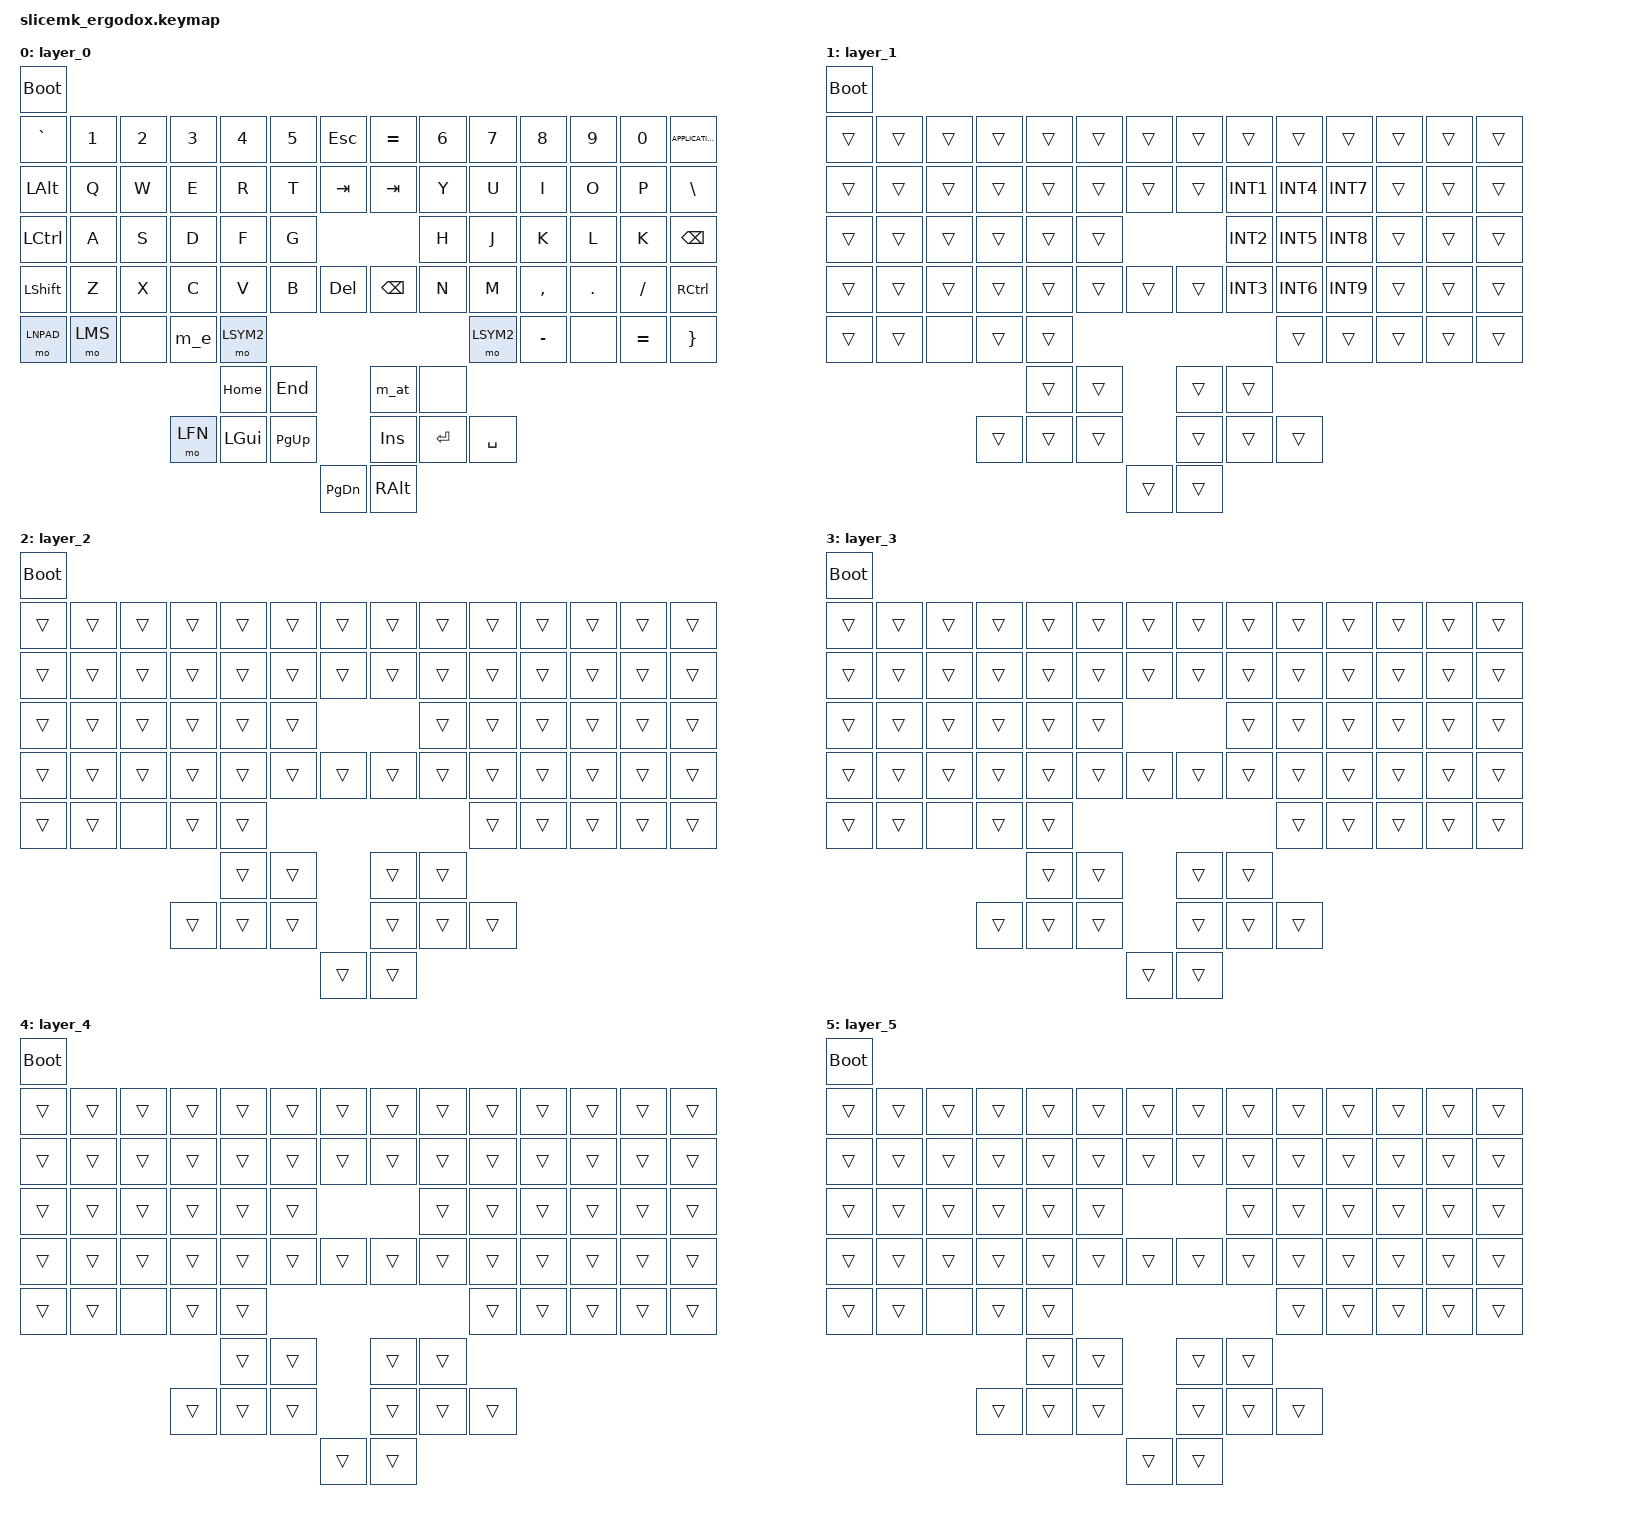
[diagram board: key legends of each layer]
#define LMAIN 0   // Layer 1: Main layer
#define LFN 1     // Layer 2: F-keys, arrows, media buttons
#define LNPAD 2   // Layer 3: Numpad (with regular number keys)
#define LMS 3     // Layer 4: Mouse layer
#define LSYM1 4   // Layer 5: Commonly used punctuation and keys
#define LSYM2 5   // Layer 6: Alternatives for commonly used punctuation

#include <behaviors.dtsi>
#include <dt-bindings/zmk/bt.h>
#include <dt-bindings/zmk/keys.h>
#include <dt-bindings/zmk/mouse.h>
#include <dt-bindings/zmk/outputs.h>
#include <dt-bindings/zmk/rgb.h>

// Originally converted from TMK, now modified to ZMK.

/ {
    macros {
        m_e: m_e {
            // Type 'é'
            compatible = "zmk,behavior-macro";
            #binding-cells = <0>;
            bindings
                = <&macro_press &kp LCTRL>
                , <&macro_press &kp LSHIFT>
                , <&macro_tap &kp U>
                , <&macro_release &kp LCTRL>
                , <&macro_release &kp LSHIFT>
                , <&macro_tap &kp E>
                , <&macro_tap &kp N9>
                , <&macro_tap &kp SPACE>
                ;
        };
        m_at: m_at {
            // AltGr + 2 = @
            compatible = "zmk,behavior-macro";
            #binding-cells = <0>;
            bindings
                = <&macro_press &kp RALT>
                , <&macro_tap &kp N2>
                , <&macro_release &kp RALT>
                ;
        };
    };

    keymap {
        compatible = "zmk,keymap";
        layer_0 {
            bindings = <
                &bootloader
                // Left hand                                                                    Right hand
                // 1       2         3         4         5         6         7                  1            2         3         4         5         6         7
                &kp GRAVE  &kp N1    &kp N2    &kp N3    &kp N4    &kp N5    &kp ESC            &kp EQUAL    &kp N6    &kp N7    &kp N8    &kp N9    &kp N0    &kp K_APPLICATION
                &kp LALT   &kp Q     &kp W     &kp E     &kp R     &kp T     &kp TAB            &kp TAB      &kp Y     &kp U     &kp I     &kp O     &kp P     &kp BACKSLASH
                &kp LCTRL  &kp A     &kp S     &kp D     &kp F     &kp G                                     &kp H     &kp J     &kp K     &kp L     &kp K     &kp BACKSPACE
                &kp LSHIFT &kp Z     &kp X     &kp C     &kp V     &kp B     &kp DEL            &kp BSPC     &kp N     &kp M     &kp COMMA &kp DOT   &kp SLASH &kp RCTRL
                // 1       2         3         4         5                                                             1         2         3         4         5
                &mo LNPAD  &mo LMS   &none     &m_e      &mo LSYM2                                                     &mo LSYM2 &kp MINUS &none     &kp EQUAL &kp RBRC

                //                                |           |           Left                  Right       |           |
                                                              &kp HOME    &kp END               &m_at       &none
                                                  &mo LFN     &kp LGUI    &kp PG_UP             &kp INSERT  &kp ENTER   &kp SPACE
                                                                          &kp PG_DN             &kp RALT
            >;
        };
        layer_1 {
            bindings = <
                &bootloader
                // Left hand                                                                    Right hand
                // 1       2         3         4         5         6         7                  1            2         3         4         5         6         7
                &trans     &trans    &trans    &trans    &trans    &trans    &trans             &trans       &trans    &trans    &trans    &trans    &trans    &trans
                &trans     &trans    &trans    &trans    &trans    &trans    &trans             &trans       &kp INT1    &kp INT4    &kp INT7    &trans    &trans    &trans
                &trans     &trans    &trans    &trans    &trans    &trans                                    &kp INT2    &kp INT5    &kp INT8    &trans    &trans    &trans
                &trans     &trans    &trans    &trans    &trans    &trans    &trans             &trans       &kp INT3    &kp INT6    &kp INT9    &trans    &trans    &trans
                // 1       2         3         4         5                                                             1         2         3         4         5
                &trans     &trans    &none     &trans    &trans                                                        &trans    &trans    &trans    &trans    &trans

                //                                |           |           Left                  Right       |           |
                                                              &trans      &trans                &trans      &trans
                                                  &trans      &trans      &trans                &trans      &trans      &trans
                                                                          &trans                &trans
            >;
        };
        layer_2 {
            bindings = <
                &bootloader
                // Left hand                                                                    Right hand
                // 1       2         3         4         5         6         7                  1            2         3         4         5         6         7
                &trans     &trans    &trans    &trans    &trans    &trans    &trans             &trans       &trans    &trans    &trans    &trans    &trans    &trans
                &trans     &trans    &trans    &trans    &trans    &trans    &trans             &trans       &trans    &trans    &trans    &trans    &trans    &trans
                &trans     &trans    &trans    &trans    &trans    &trans                                    &trans    &trans    &trans    &trans    &trans    &trans
                &trans     &trans    &trans    &trans    &trans    &trans    &trans             &trans       &trans    &trans    &trans    &trans    &trans    &trans
                // 1       2         3         4         5                                                             1         2         3         4         5
                &trans     &trans    &none     &trans    &trans                                                        &trans    &trans    &trans    &trans    &trans

                //                                |           |           Left                  Right       |           |
                                                              &trans      &trans                &trans      &trans
                                                  &trans      &trans      &trans                &trans      &trans      &trans
                                                                          &trans                &trans
            >;
        };
        layer_3 {
            bindings = <
                &bootloader
                // Left hand                                                                    Right hand
                // 1       2         3         4         5         6         7                  1            2         3         4         5         6         7
                &trans     &trans    &trans    &trans    &trans    &trans    &trans             &trans       &trans    &trans    &trans    &trans    &trans    &trans
                &trans     &trans    &trans    &trans    &trans    &trans    &trans             &trans       &trans    &trans    &trans    &trans    &trans    &trans
                &trans     &trans    &trans    &trans    &trans    &trans                                    &trans    &trans    &trans    &trans    &trans    &trans
                &trans     &trans    &trans    &trans    &trans    &trans    &trans             &trans       &trans    &trans    &trans    &trans    &trans    &trans
                // 1       2         3         4         5                                                             1         2         3         4         5
                &trans     &trans    &none     &trans    &trans                                                        &trans    &trans    &trans    &trans    &trans

                //                                |           |           Left                  Right       |           |
                                                              &trans      &trans                &trans      &trans
                                                  &trans      &trans      &trans                &trans      &trans      &trans
                                                                          &trans                &trans
            >;
        };
        layer_4 {
            bindings = <
                &bootloader
                // Left hand                                                                    Right hand
                // 1       2         3         4         5         6         7                  1            2         3         4         5         6         7
                &trans     &trans    &trans    &trans    &trans    &trans    &trans             &trans       &trans    &trans    &trans    &trans    &trans    &trans
                &trans     &trans    &trans    &trans    &trans    &trans    &trans             &trans       &trans    &trans    &trans    &trans    &trans    &trans
                &trans     &trans    &trans    &trans    &trans    &trans                                    &trans    &trans    &trans    &trans    &trans    &trans
                &trans     &trans    &trans    &trans    &trans    &trans    &trans             &trans       &trans    &trans    &trans    &trans    &trans    &trans
                // 1       2         3         4         5                                                             1         2         3         4         5
                &trans     &trans    &none     &trans    &trans                                                        &trans    &trans    &trans    &trans    &trans

                //                                |           |           Left                  Right       |           |
                                                              &trans      &trans                &trans      &trans
                                                  &trans      &trans      &trans                &trans      &trans      &trans
                                                                          &trans                &trans
            >;
        };
        layer_5 {
            bindings = <
                &bootloader
                // Left hand                                                                    Right hand
                // 1       2         3         4         5         6         7                  1            2         3         4         5         6         7
                &trans     &trans    &trans    &trans    &trans    &trans    &trans             &trans       &trans    &trans    &trans    &trans    &trans    &trans
                &trans     &trans    &trans    &trans    &trans    &trans    &trans             &trans       &trans    &trans    &trans    &trans    &trans    &trans
                &trans     &trans    &trans    &trans    &trans    &trans                                    &trans    &trans    &trans    &trans    &trans    &trans
                &trans     &trans    &trans    &trans    &trans    &trans    &trans             &trans       &trans    &trans    &trans    &trans    &trans    &trans
                // 1       2         3         4         5                                                             1         2         3         4         5
                &trans     &trans    &none     &trans    &trans                                                        &trans    &trans    &trans    &trans    &trans

                //                                |           |           Left                  Right       |           |
                                                              &trans      &trans                &trans      &trans
                                                  &trans      &trans      &trans                &trans      &trans      &trans
                                                                          &trans                &trans
            >;
        };
    };
};
